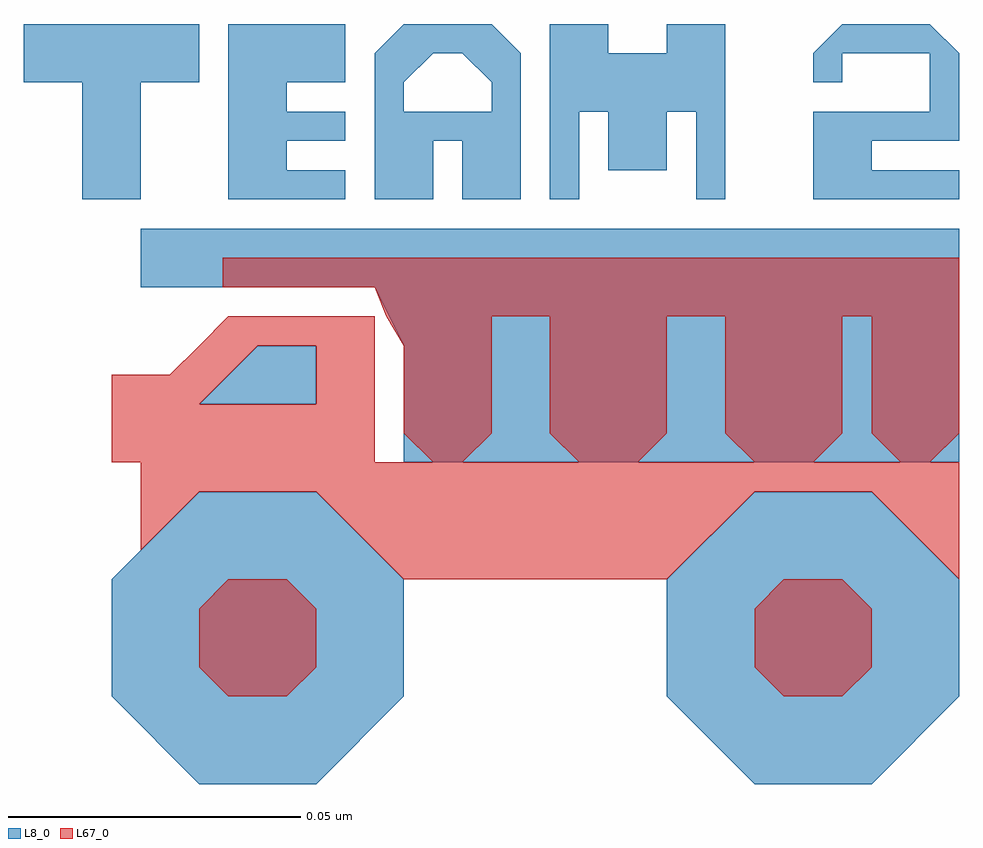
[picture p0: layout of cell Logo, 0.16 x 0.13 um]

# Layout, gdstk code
import gdstk
lib = gdstk.Library(unit=1e-6, precision=1e-09)
def P(c, l, *ps):  # polygons
    for p in ps: c.add(gdstk.Polygon(p, *l))
L8_0 = (8, 0)
L67_0 = (67, 0)

logo = lib.new_cell('Logo')
P(logo, L8_0, [(-0.97,0.46),(-0.985,0.475),(-0.985,0.495),(-0.97,0.51),(-0.95,0.51),(-0.935,0.495),(-0.935,0.475),(-0.95,0.46)],
  [(-0.97,0.46),(-0.985,0.475),(-0.985,0.495),(-0.97,0.51),(-0.95,0.51),(-0.935,0.495),(-0.935,0.475),(-0.95,0.46)],
  [(-0.875,0.46),(-0.89,0.475),(-0.89,0.495),(-0.875,0.51),(-0.855,0.51),(-0.84,0.495),(-0.84,0.475),(-0.855,0.46)],
  [(-0.875,0.46),(-0.89,0.475),(-0.89,0.495),(-0.875,0.51),(-0.855,0.51),(-0.84,0.495),(-0.84,0.475),(-0.855,0.46)],
  [(-0.97,0.525),(-0.96,0.535),(-0.95,0.535),(-0.95,0.525)],
  [(-0.97,0.525),(-0.96,0.535),(-0.95,0.535),(-0.95,0.525)],
  [(-0.935,0.515),(-0.935,0.535),(-0.94,0.545),(-0.98,0.545),(-0.98,0.555),(-0.84,0.555),(-0.84,0.515)],
  [(-0.99,0.56),(-0.99,0.58),(-1,0.58),(-1,0.59),(-0.97,0.59),(-0.97,0.58),(-0.98,0.58),(-0.98,0.56)],
  [(-0.965,0.56),(-0.965,0.59),(-0.945,0.59),(-0.945,0.58),(-0.955,0.58),(-0.955,0.575),(-0.945,0.575),(-0.945,0.57),(-0.955,0.57),(-0.955,0.565),(-0.945,0.565),(-0.945,0.56)],
  [(-0.94,0.56),(-0.94,0.585),(-0.93,0.585),(-0.935,0.58),(-0.935,0.575),(-0.92,0.575),(-0.92,0.58),(-0.925,0.585),(-0.94,0.585),(-0.935,0.59),(-0.92,0.59),(-0.915,0.585),(-0.915,0.56),(-0.925,0.56),(-0.925,0.57),(-0.93,0.57),(-0.93,0.56)],
  [(-0.91,0.56),(-0.91,0.59),(-0.9,0.59),(-0.9,0.585),(-0.89,0.585),(-0.89,0.59),(-0.88,0.59),(-0.88,0.56),(-0.885,0.56),(-0.885,0.575),(-0.89,0.575),(-0.89,0.565),(-0.9,0.565),(-0.9,0.575),(-0.905,0.575),(-0.905,0.56)],
  [(-0.91,0.56),(-0.91,0.59),(-0.9,0.59),(-0.9,0.585),(-0.89,0.585),(-0.89,0.59),(-0.88,0.59),(-0.88,0.56),(-0.885,0.56),(-0.885,0.575),(-0.89,0.575),(-0.89,0.565),(-0.9,0.565),(-0.9,0.575),(-0.905,0.575),(-0.905,0.56)],
  [(-0.865,0.56),(-0.865,0.575),(-0.845,0.575),(-0.845,0.585),(-0.86,0.585),(-0.86,0.58),(-0.865,0.58),(-0.865,0.585),(-0.86,0.59),(-0.845,0.59),(-0.84,0.585),(-0.84,0.57),(-0.855,0.57),(-0.855,0.565),(-0.84,0.565),(-0.84,0.56)],
  [(-0.865,0.56),(-0.865,0.575),(-0.845,0.575),(-0.845,0.585),(-0.86,0.585),(-0.86,0.58),(-0.865,0.58),(-0.865,0.585),(-0.86,0.59),(-0.845,0.59),(-0.84,0.585),(-0.84,0.57),(-0.855,0.57),(-0.855,0.565),(-0.84,0.565),(-0.84,0.56)])
P(logo, L67_0, [(-0.965,0.475),(-0.97,0.48),(-0.97,0.49),(-0.965,0.495),(-0.955,0.495),(-0.95,0.49),(-0.95,0.48),(-0.955,0.475)],
  [(-0.985,0.515),(-0.985,0.53),(-0.975,0.53),(-0.97,0.535),(-0.96,0.535),(-0.97,0.525),(-0.95,0.525),(-0.95,0.535),(-0.97,0.535),(-0.965,0.54),(-0.94,0.54),(-0.94,0.515)],
  [(-0.965,0.475),(-0.97,0.48),(-0.97,0.49),(-0.965,0.495),(-0.955,0.495),(-0.95,0.49),(-0.95,0.48),(-0.955,0.475)],
  [(-0.87,0.475),(-0.875,0.48),(-0.875,0.49),(-0.87,0.495),(-0.86,0.495),(-0.855,0.49),(-0.855,0.48),(-0.86,0.475)],
  [(-0.87,0.475),(-0.875,0.48),(-0.875,0.49),(-0.87,0.495),(-0.86,0.495),(-0.855,0.49),(-0.855,0.48),(-0.86,0.475)],
  [(-0.985,0.515),(-0.985,0.53),(-0.975,0.53),(-0.97,0.535),(-0.96,0.535),(-0.97,0.525),(-0.95,0.525),(-0.95,0.535),(-0.97,0.535),(-0.965,0.54),(-0.94,0.54),(-0.94,0.515)],
  [(-0.935,0.495),(-0.95,0.51),(-0.97,0.51),(-0.98,0.5),(-0.98,0.515),(-0.93,0.515),(-0.935,0.52),(-0.935,0.535),(-0.938,0.54),(-0.92,0.54),(-0.92,0.52),(-0.925,0.515),(-0.905,0.515),(-0.91,0.52),(-0.91,0.54),(-0.89,0.54),(-0.89,0.52),(-0.895,0.515),(-0.875,0.515),(-0.88,0.52),(-0.88,0.54),(-0.86,0.54),(-0.86,0.52),(-0.865,0.515),(-0.85,0.515),(-0.855,0.52),(-0.855,0.54),(-0.938,0.54),(-0.94,0.545),(-0.966,0.545),(-0.966,0.55),(-0.84,0.55),(-0.84,0.52),(-0.845,0.515),(-0.84,0.515),(-0.84,0.495),(-0.855,0.51),(-0.875,0.51),(-0.89,0.495)])

lib.write_gds('Logo.gds')
